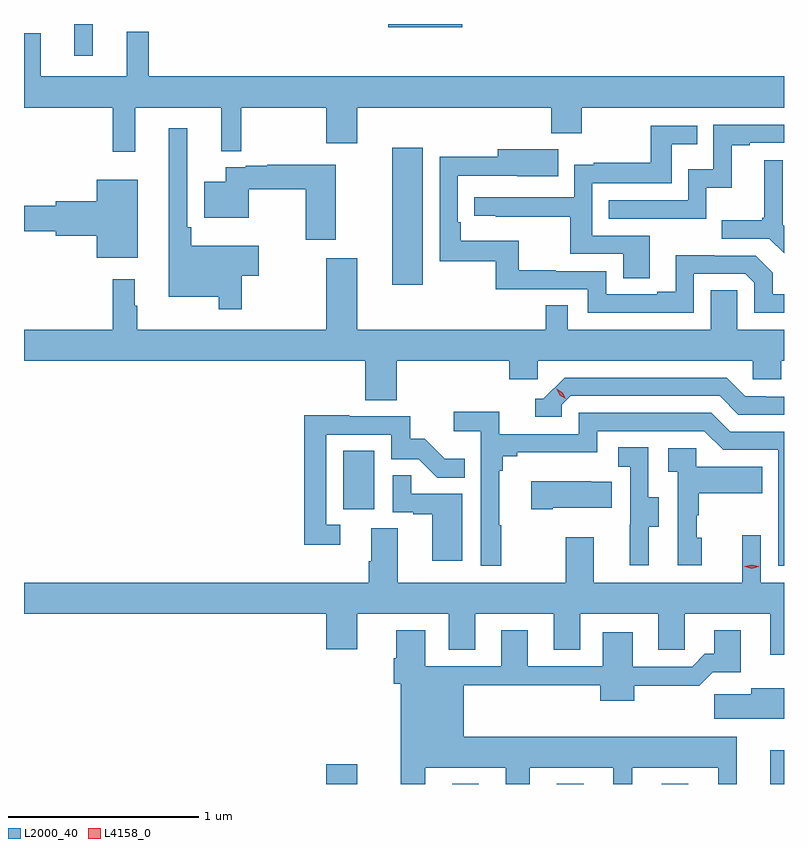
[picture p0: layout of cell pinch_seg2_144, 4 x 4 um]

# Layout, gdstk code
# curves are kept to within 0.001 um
import gdstk
lib = gdstk.Library(unit=1e-6, precision=1e-09)
def R(c, l, rs):  # rectangles x0, y0, x1, y1
    for r in rs: c.add(gdstk.rectangle(r[:2], r[2:], *l))
def A(c, l, x, y, w, h, nx, ny, dx, dy):  # array of equal rectangles
    R(c, l, [(x+i*dx, y+j*dy, x+i*dx+w, y+j*dy+h) for i in range(nx) for j in range(ny)])
def P(c, l, *ps):  # polygons
    for p in ps: c.add(gdstk.Polygon(p, *l))
L2000_40 = (2000, 40)
L4158_0 = (4158, 0)

pinch_seg2_144 = lib.new_cell('pinch_seg2_144')
A(pinch_seg2_144, L2000_40, 1100.735, 634.752, 0.14, 0.001, 3, 1, 0.552, 0)
R(pinch_seg2_144, L2000_40, [(1100.072,634.752,1100.236,634.855), (1102.409,634.752,1102.482,634.93), (1100.162,636.198,1100.326,636.505), (1100.42,637.38,1100.581,638.101), (1098.747,638.586,1098.844,638.752), (1100.4,638.735,1100.788,638.752)])
P(pinch_seg2_144, L2000_40, [(1099.067,638.312),(1099.52,638.312),(1099.52,638.083),(1099.625,638.083),(1099.625,638.312),(1100.072,638.312),(1100.072,638.124),(1100.236,638.124),(1100.236,638.312),(1101.257,638.312),(1101.257,638.177),(1101.417,638.177),(1101.417,638.312),(1102.482,638.312),(1102.482,638.476),(1099.139,638.476),(1099.139,638.71),(1099.022,638.71),(1099.022,638.476),(1098.569,638.476),(1098.569,638.704),(1098.482,638.704),(1098.482,638.312),(1098.949,638.312),(1098.949,638.079),(1099.067,638.079)],
  [(1102.074,637.889),(1102.207,637.889),(1102.207,638.115),(1102.303,638.115),(1102.303,638.127),(1102.482,638.127),(1102.482,638.223),(1102.11,638.223),(1102.11,637.987),(1101.978,637.987),(1101.978,637.824),(1101.559,637.824),(1101.559,637.728),(1102.074,637.728)],
  [(1101.775,637.638),(1101.474,637.638),(1101.474,637.914),(1101.891,637.914),(1101.891,638.12),(1102.025,638.12),(1102.025,638.217),(1101.78,638.217),(1101.78,638.023),(1101.481,638.023),(1101.481,638.011),(1101.378,638.011),(1101.378,637.839),(1100.853,637.839),(1100.853,637.743),(1100.965,637.743),(1100.965,637.738),(1101.358,637.738),(1101.358,637.542),(1101.635,637.542),(1101.635,637.414),(1101.775,637.414)],
  [(1099.627,637.427),(1099.717,637.427),(1099.717,637.585),(1099.361,637.585),(1099.361,637.681),(1099.341,637.681),(1099.341,638.203),(1099.244,638.203),(1099.244,637.316),(1099.506,637.316),(1099.506,637.251),(1099.627,637.251)],
  [(1102.008,637.437),(1102.278,637.437),(1102.326,637.389),(1102.326,637.233),(1102.482,637.233),(1102.482,637.329),(1102.422,637.329),(1102.422,637.443),(1102.332,637.533),(1102.116,637.533),(1102.116,637.535),(1101.911,637.535),(1101.911,637.342),(1101.815,637.342),(1101.815,637.329),(1101.546,637.329),(1101.546,637.452),(1101.281,637.452),(1101.281,637.457),(1101.085,637.457),(1101.085,637.612),(1100.78,637.612),(1100.78,637.708),(1100.766,637.708),(1100.766,637.953),(1101.293,637.952),(1101.293,638.092),(1100.975,638.092),(1100.975,638.054),(1100.67,638.054),(1100.67,637.503),(1100.964,637.503),(1100.964,637.356),(1101.45,637.356),(1101.45,637.233),(1102.008,637.233)],
  [(1102.482,637.689),(1102.476,637.695),(1102.476,638.035),(1102.379,638.035),(1102.379,637.732),(1102.368,637.732),(1102.368,637.72),(1102.155,637.72),(1102.155,637.623),(1102.404,637.623),(1102.482,637.545)],
  [(1100.122,638.011),(1099.762,638.011),(1099.762,638.005),(1099.648,638.005),(1099.648,637.998),(1099.544,637.998),(1099.544,637.921),(1099.43,637.921),(1099.43,637.733),(1099.666,637.733),(1099.666,637.882),(1099.964,637.882),(1099.964,637.617),(1100.122,637.617)],
  [(1099.081,637.933),(1098.866,637.933),(1098.866,637.82),(1098.65,637.82),(1098.65,637.796),(1098.482,637.796),(1098.482,637.66),(1098.65,637.66),(1098.65,637.637),(1098.866,637.637),(1098.866,637.523),(1099.081,637.523)],
  [(1100.444,636.98),(1101.035,636.98),(1101.035,636.882),(1101.186,636.882),(1101.186,636.98),(1102.317,636.98),(1102.317,636.882),(1102.467,636.882),(1102.467,636.98),(1102.482,636.98),(1102.482,637.144),(1102.236,637.144),(1102.236,637.352),(1102.097,637.352),(1102.097,637.144),(1101.345,637.144),(1101.345,637.271),(1101.229,637.271),(1101.229,637.144),(1100.236,637.144),(1100.236,637.519),(1100.072,637.519),(1100.072,637.144),(1099.078,637.144),(1099.078,637.268),(1099.066,637.268),(1099.066,637.408),(1098.949,637.408),(1098.949,637.144),(1098.482,637.144),(1098.482,636.98),(1100.279,636.98),(1100.279,636.772),(1100.444,636.772)],
  [(1101.312,636.747),(1101.36,636.795),(1102.143,636.795),(1102.242,636.696),(1102.482,636.696),(1102.482,636.789),(1102.386,636.789),(1102.386,636.792),(1102.279,636.792),(1102.18,636.891),(1101.327,636.891),(1101.216,636.78),(1101.173,636.78),(1101.173,636.684),(1101.312,636.684)],
  [(1100.995,636.113),(1100.983,636.113),(1100.983,636.401),(1101.002,636.401),(1101.002,636.478),(1101.079,636.478),(1101.079,636.497),(1101.498,636.497),(1101.498,636.609),(1102.062,636.609),(1102.161,636.51),(1102.452,636.51),(1102.452,635.901),(1102.482,635.901),(1102.482,636.606),(1102.198,636.606),(1102.099,636.705),(1101.402,636.705),(1101.402,636.594),(1100.984,636.594),(1100.984,636.71),(1100.745,636.71),(1100.745,636.608),(1100.886,636.608),(1100.886,635.901),(1100.995,635.901)],
  [(1100.146,636.117),(1100.073,636.117),(1100.073,636.591),(1100.415,636.591),(1100.415,636.462),(1100.559,636.462),(1100.657,636.364),(1100.801,636.364),(1100.801,636.463),(1100.697,636.463),(1100.59,636.57),(1100.514,636.57),(1100.514,636.687),(1100.195,636.687),(1100.195,636.692),(1099.957,636.692),(1099.957,636.012),(1100.146,636.012)],
  [(1101.769,636.106),(1101.823,636.106),(1101.823,636.261),(1101.768,636.261),(1101.768,636.524),(1101.609,636.524),(1101.609,636.421),(1101.672,636.421),(1101.672,636.117),(1101.671,636.117),(1101.671,635.904),(1101.769,635.904)],
  [(1102.048,636.048),(1102.023,636.048),(1102.023,636.167),(1102.033,636.167),(1102.033,636.281),(1102.367,636.281),(1102.367,636.421),(1102.02,636.421),(1102.02,636.519),(1101.873,636.519),(1101.873,636.395),(1101.924,636.395),(1101.924,635.904),(1102.048,635.904)],
  [(1100.788,636.279),(1100.519,636.279),(1100.519,636.377),(1100.424,636.377),(1100.424,636.183),(1100.531,636.183),(1100.531,636.171),(1100.63,636.171),(1100.63,635.928),(1100.788,635.928)],
  [(1101.265,636.206),(1101.575,636.206),(1101.575,636.343),(1101.467,636.343),(1101.467,636.346),(1101.153,636.346),(1101.153,636.199),(1101.265,636.199)],
  [(1102.482,635.812),(1102.359,635.812),(1102.359,636.061),(1102.262,636.061),(1102.262,635.812),(1101.481,635.812),(1101.481,636.052),(1101.334,636.052),(1101.334,635.812),(1100.449,635.812),(1100.449,636.098),(1100.309,636.098),(1100.309,635.924),(1100.297,635.924),(1100.297,635.812),(1098.482,635.812),(1098.482,635.648),(1100.072,635.648),(1100.072,635.46),(1100.236,635.46),(1100.236,635.648),(1100.717,635.648),(1100.717,635.458),(1100.857,635.458),(1100.857,635.648),(1101.269,635.648),(1101.269,635.458),(1101.409,635.458),(1101.409,635.648),(1101.821,635.648),(1101.821,635.458),(1101.96,635.458),(1101.96,635.648),(1102.409,635.648),(1102.409,635.432),(1102.482,635.432)],
  [(1100.593,634.838),(1101.017,634.838),(1101.017,634.752),(1101.145,634.752),(1101.145,634.838),(1101.584,634.838),(1101.584,634.752),(1101.682,634.752),(1101.682,634.838),(1102.136,634.838),(1102.136,634.752),(1102.234,634.752),(1102.234,635.002),(1100.797,635.002),(1100.797,635.272),(1101.515,635.272),(1101.515,635.189),(1101.693,635.189),(1101.693,635.27),(1102.037,635.27),(1102.106,635.339),(1102.255,635.339),(1102.255,635.56),(1102.115,635.56),(1102.115,635.437),(1102.066,635.437),(1101.999,635.37),(1101.685,635.37),(1101.685,635.551),(1101.527,635.551),(1101.527,635.373),(1101.133,635.373),(1101.133,635.56),(1100.993,635.56),(1100.993,635.373),(1100.593,635.373),(1100.593,635.56),(1100.441,635.56),(1100.441,635.414),(1100.429,635.414),(1100.429,635.28),(1100.465,635.28),(1100.465,634.752),(1100.593,634.752)],
  [(1102.482,635.256),(1102.31,635.256),(1102.31,635.225),(1102.116,635.225),(1102.116,635.096),(1102.482,635.096)])
P(pinch_seg2_144, L4158_0, [(1101.333,636.779),(1101.303,636.798),(1101.287,636.831),(1101.287,636.831),(1101.287,636.831),(1101.318,636.812),(1101.334,636.779),(1101.334,636.779)],
  [(1102.312,635.886),(1102.276,635.896),(1102.276,635.896),(1102.276,635.897),(1102.312,635.906),(1102.348,635.897),(1102.348,635.896),(1102.348,635.896)])

lib.write_gds('pinch_seg2_144.gds')
